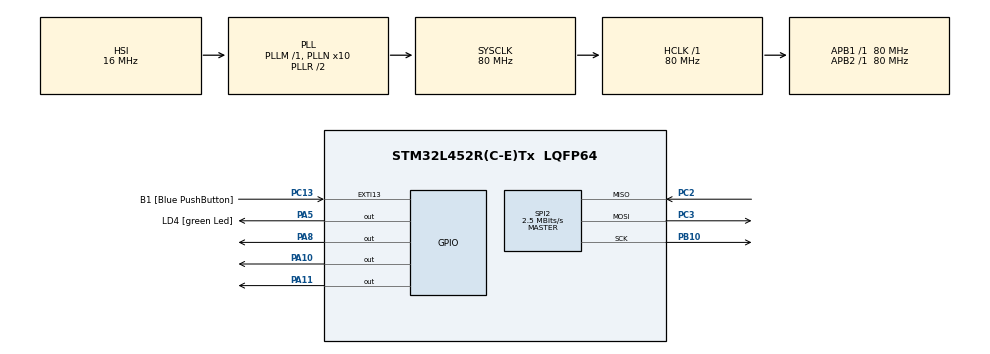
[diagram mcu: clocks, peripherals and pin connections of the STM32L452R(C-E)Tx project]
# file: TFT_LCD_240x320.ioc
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Mcu.Family=STM32L4
Mcu.Name=STM32L452R(C-E)Tx
Mcu.Package=LQFP64
NVIC.PriorityGroup=NVIC_PRIORITYGROUP_4
PA10.GPIO_Speed=GPIO_SPEED_FREQ_VERY_HIGH
PA10.Signal=GPIO_Output
PA11.GPIO_Speed=GPIO_SPEED_FREQ_VERY_HIGH
PA11.Signal=GPIO_Output
PA13\ (JTMS/SWDIO).GPIO_Label=TMS
PA13\ (JTMS/SWDIO).Mode=Serial_Wire
PA13\ (JTMS/SWDIO).Signal=SYS_JTMS-SWDIO
PA14\ (JTCK/SWCLK).GPIO_Label=TCK
PA14\ (JTCK/SWCLK).Mode=Serial_Wire
PA14\ (JTCK/SWCLK).Signal=SYS_JTCK-SWCLK
PA2.GPIO_Label=USART_TX
PA2.GPIO_Mode=GPIO_MODE_AF_PP
PA2.GPIO_PuPd=GPIO_NOPULL
PA2.GPIO_Speed=GPIO_SPEED_FREQ_VERY_HIGH
PA2.Signal=USART2_TX
PA3.GPIO_Label=USART_RX
PA3.GPIO_Mode=GPIO_MODE_AF_PP
PA3.GPIO_PuPd=GPIO_NOPULL
PA3.GPIO_Speed=GPIO_SPEED_FREQ_VERY_HIGH
PA3.Signal=USART2_RX
PA5.GPIO_Label=LD4 [green Led]
PA5.GPIO_ModeDefaultOutputPP=GPIO_MODE_OUTPUT_PP
PA5.GPIO_PuPd=GPIO_NOPULL
PA5.GPIO_Speed=GPIO_SPEED_FREQ_LOW
PA5.PinState=GPIO_PIN_RESET
PA5.Signal=GPIO_Output
PA8.GPIO_Speed=GPIO_SPEED_FREQ_LOW
PA8.Signal=GPIO_Output
PB10.GPIO_Speed=GPIO_SPEED_FREQ_VERY_HIGH
PB10.Mode=Full_Duplex_Master
PB10.Signal=SPI2_SCK
PB3\ (JTDO/TRACESWO).GPIO_Label=SWO
PB3\ (JTDO/TRACESWO).Signal=SYS_JTDO-SWO
PC13.GPIO_Label=B1 [Blue PushButton]
PC13.GPIO_ModeDefaultEXTI=GPIO_MODE_IT_FALLING
PC13.GPIO_PuPd=GPIO_NOPULL
PC13.Signal=GPXTI13
PC14-OSC32_IN\ (PC14).Mode=LSE-External-Oscillator
PC14-OSC32_IN\ (PC14).Signal=RCC_OSC32_IN
PC15-OSC32_OUT\ (PC15).Mode=LSE-External-Oscillator
PC15-OSC32_OUT\ (PC15).Signal=RCC_OSC32_OUT
PC2.GPIO_Speed=GPIO_SPEED_FREQ_VERY_HIGH
PC2.Mode=Full_Duplex_Master
PC2.Signal=SPI2_MISO
PC3.GPIO_Speed=GPIO_SPEED_FREQ_VERY_HIGH
PC3.Mode=Full_Duplex_Master
PC3.Signal=SPI2_MOSI
PH0-OSC_IN\ (PH0).Signal=RCC_OSC_IN
PH1-OSC_OUT\ (PH1).Signal=RCC_OSC_OUT
ProjectManager.HeapSize=0x200
ProjectManager.StackSize=0x400
ProjectManager.TargetToolchain=STM32CubeIDE
RCC.ADCFreq_Value=64000000
RCC.AHBFreq_Value=80000000
RCC.APB1Freq_Value=80000000
RCC.APB1TimFreq_Value=80000000
RCC.APB2Freq_Value=80000000
RCC.APB2TimFreq_Value=80000000
RCC.CortexFreq_Value=80000000
RCC.HCLKFreq_Value=80000000
RCC.HSE_VALUE=8000000
RCC.HSI48_VALUE=48000000
RCC.HSI_VALUE=16000000
RCC.MSI_VALUE=4000000
RCC.PLLN=10
RCC.PLLSourceVirtual=RCC_PLLSOURCE_HSI
RCC.SYSCLKFreq_VALUE=80000000
RCC.SYSCLKSource=RCC_SYSCLKSOURCE_PLLCLK
RCC.USBFreq_Value=64000000
RCC.VCOOutputFreq_Value=160000000
SPI2.BaudRatePrescaler=SPI_BAUDRATEPRESCALER_32
SPI2.CLKPhase=SPI_PHASE_2EDGE
SPI2.CLKPolarity=SPI_POLARITY_HIGH
SPI2.CalculateBaudRate=2.5 MBits/s
SPI2.DataSize=SPI_DATASIZE_8BIT
SPI2.Direction=SPI_DIRECTION_2LINES
SPI2.Mode=SPI_MODE_MASTER
SPI2.VirtualType=VM_MASTER
STMicroelectronics.X-CUBE-TOUCHGFX.4.13.0.ApplicationCcGraphicsJjApplication=TouchGFXOoGenerator
STMicroelectronics.X-CUBE-TOUCHGFX.4.13.0.tgfx_custom_height=320
STMicroelectronics.X-CUBE-TOUCHGFX.4.13.0.tgfx_custom_width=240
VP_CRC_VS_CRC.Mode=CRC_Activate
board=NUCLEO-L452RE

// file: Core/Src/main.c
/* USER CODE BEGIN Header */
/**
  ******************************************************************************
  * @file           : main.c
  * @brief          : Main program body
  ******************************************************************************
  * @attention
  *
  * <h2><center>&copy; Copyright (c) 2020 STMicroelectronics.
  * All rights reserved.</center></h2>
  *
  * This software component is licensed by ST under BSD 3-Clause license,
  * the "License"; You may not use this file except in compliance with the
  * License. You may obtain a copy of the License at:
  *                        opensource.org/licenses/BSD-3-Clause
  *
  ******************************************************************************
  */
/* USER CODE END Header */

#include "main.h"
#include "../Graphics/lvgl/lvgl.h"
#include "../Graphics/lv_conf.h"
/* USER CODE BEGIN Includes */
#include "../Lcd/lcd.h"
/* USER CODE END Includes */

CRC_HandleTypeDef hcrc;

SPI_HandleTypeDef hspi2;

void SystemClock_Config(void);
static void MX_GPIO_Init(void);
static void MX_SPI2_Init(void);
static void MX_CRC_Init(void);

/* USER CODE BEGIN 0 */
static lv_disp_buf_t disp_buf;
static lv_color_t buf[LV_HOR_RES_MAX * 10];                     /*Declare a buffer for 10 lines*/
/* USER CODE END 0 */

int main(void)
{

  /* MCU Configuration--------------------------------------------------------*/

  /* Reset of all peripherals, Initializes the Flash interface and the Systick. */
  HAL_Init();

  /* Configure the system clock */
  SystemClock_Config();

  /* Initialize all configured peripherals */
  MX_GPIO_Init();
  MX_SPI2_Init();
  MX_CRC_Init();

  /* Infinite loop */
  /* USER CODE BEGIN WHILE */
  HAL_GPIO_WritePin(GPIOA, GPIO_PIN_10, GPIO_PIN_SET); // Chip Select

  // Init graphics
  lv_init();

  /*Initialize the display buffer*/
  lv_disp_buf_init(&disp_buf, buf, NULL, LV_HOR_RES_MAX * 10);

  // Initializing the display driver
  lv_disp_drv_t disp_drv;               /*Descriptor of a display driver*/
  lv_disp_drv_init(&disp_drv);          /*Basic initialization*/
  disp_drv.flush_cb = my_disp_flush;    /*Set your driver function*/
  disp_drv.buffer = &disp_buf;          /*Assign the buffer to the display*/
  lv_disp_drv_register(&disp_drv);      /*Finally register the driver*/

  // Init LCD
  LCD_Init();

  // Create button
  lv_obj_t * btn = lv_btn_create(lv_scr_act(), NULL);     /*Add a button the current screen*/
  lv_obj_set_pos(btn, 10, 10);                            /*Set its position*/
  lv_obj_set_size(btn, 100, 50);                          /*Set its size*/

  lv_obj_t * label = lv_label_create(btn, NULL);          /*Add a label to the button*/
  lv_label_set_text(label, "Button");                     /*Set the labels text*/

  // Initialize colors
  lv_color_t emerald = lv_color_make(2, 46, 3);
  lv_color_t gold = lv_color_make(26, 43, 4);
  lv_color_t white = lv_color_make(31, 63, 31);

  // Set button style
  static lv_style_t style_btn_rel;                        /*A variable to store the released style*/
  lv_style_copy(&style_btn_rel, &lv_style_plain);         /*Initialize from a built-in style*/
  style_btn_rel.body.border.color = gold;
  style_btn_rel.body.border.width = 1;
  style_btn_rel.body.main_color = white;
  style_btn_rel.body.grad_color = white;
  style_btn_rel.body.radius = LV_RADIUS_CIRCLE;
  style_btn_rel.text.color = gold;

  lv_btn_set_style(btn, LV_BTN_STYLE_REL, &style_btn_rel);    /*Set the button's released style*/

  while (1)
  {
    /* USER CODE END WHILE */

    /* USER CODE BEGIN 3 */
//	LCD_Clear(  0,0,80,320,LCD_COLOR_RED);
//	LCD_Clear( 80,0,80,320,LCD_COLOR_GREEN);
//	LCD_Clear(160,0,80,320,LCD_COLOR_BLUE);
//	HAL_Delay(30);
//
//	LCD_SetColors(LCD_COLOR_WHITE,LCD_COLOR_BLACK);
//	LCD_Clear(0,0,240,320,LCD_COLOR_BLACK);		//BLACK
//	HAL_Delay(30);
//
//	LCD_DispRec(0,0,240,320);
//	HAL_Delay(30);
//
//	LCD_Clear(0,0,240,320,LCD_COLOR_WHITE);		//WHITE
//	HAL_Delay(30);
//
//	LCD_Clear(0,0,240,320,LCD_COLOR_RED);			//RED
//	HAL_Delay(30);
//
//	LCD_Clear(0,0,240,320,LCD_COLOR_GREEN);		//GREEN
//	HAL_Delay(30);
//
//	LCD_Clear(0,0,240,320,LCD_COLOR_BLUE);		//BLUE
//	HAL_Delay(30);

	HAL_Delay(10);
	lv_tick_inc(10);
	lv_task_handler();
  }
  /* USER CODE END 3 */
}

void SystemClock_Config(void)
{
  RCC_OscInitTypeDef RCC_OscInitStruct = {0};
  RCC_ClkInitTypeDef RCC_ClkInitStruct = {0};

  /** Initializes the CPU, AHB and APB busses clocks
  */
  RCC_OscInitStruct.OscillatorType = RCC_OSCILLATORTYPE_HSI;
  RCC_OscInitStruct.HSIState = RCC_HSI_ON;
  RCC_OscInitStruct.HSICalibrationValue = RCC_HSICALIBRATION_DEFAULT;
  RCC_OscInitStruct.PLL.PLLState = RCC_PLL_ON;
  RCC_OscInitStruct.PLL.PLLSource = RCC_PLLSOURCE_HSI;
  RCC_OscInitStruct.PLL.PLLM = 1;
  RCC_OscInitStruct.PLL.PLLN = 10;
  RCC_OscInitStruct.PLL.PLLP = RCC_PLLP_DIV7;
  RCC_OscInitStruct.PLL.PLLQ = RCC_PLLQ_DIV2;
  RCC_OscInitStruct.PLL.PLLR = RCC_PLLR_DIV2;
  if (HAL_RCC_OscConfig(&RCC_OscInitStruct) != HAL_OK)
  {
    Error_Handler();
  }
  /** Initializes the CPU, AHB and APB busses clocks
  */
  RCC_ClkInitStruct.ClockType = RCC_CLOCKTYPE_HCLK|RCC_CLOCKTYPE_SYSCLK
                              |RCC_CLOCKTYPE_PCLK1|RCC_CLOCKTYPE_PCLK2;
  RCC_ClkInitStruct.SYSCLKSource = RCC_SYSCLKSOURCE_PLLCLK;
  RCC_ClkInitStruct.AHBCLKDivider = RCC_SYSCLK_DIV1;
  RCC_ClkInitStruct.APB1CLKDivider = RCC_HCLK_DIV1;
  RCC_ClkInitStruct.APB2CLKDivider = RCC_HCLK_DIV1;

  if (HAL_RCC_ClockConfig(&RCC_ClkInitStruct, FLASH_LATENCY_4) != HAL_OK)
  {
    Error_Handler();
  }
  /** Configure the main internal regulator output voltage
  */
  if (HAL_PWREx_ControlVoltageScaling(PWR_REGULATOR_VOLTAGE_SCALE1) != HAL_OK)
  {
    Error_Handler();
  }
}

static void MX_CRC_Init(void)
{

  hcrc.Instance = CRC;
  hcrc.Init.DefaultPolynomialUse = DEFAULT_POLYNOMIAL_ENABLE;
  hcrc.Init.DefaultInitValueUse = DEFAULT_INIT_VALUE_ENABLE;
  hcrc.Init.InputDataInversionMode = CRC_INPUTDATA_INVERSION_NONE;
  hcrc.Init.OutputDataInversionMode = CRC_OUTPUTDATA_INVERSION_DISABLE;
  hcrc.InputDataFormat = CRC_INPUTDATA_FORMAT_BYTES;
  if (HAL_CRC_Init(&hcrc) != HAL_OK)
  {
    Error_Handler();
  }

}

static void MX_SPI2_Init(void)
{

  /* SPI2 parameter configuration*/
  hspi2.Instance = SPI2;
  hspi2.Init.Mode = SPI_MODE_MASTER;
  hspi2.Init.Direction = SPI_DIRECTION_2LINES;
  hspi2.Init.DataSize = SPI_DATASIZE_8BIT;
  hspi2.Init.CLKPolarity = SPI_POLARITY_HIGH;
  hspi2.Init.CLKPhase = SPI_PHASE_2EDGE;
  hspi2.Init.NSS = SPI_NSS_SOFT;
  hspi2.Init.BaudRatePrescaler = SPI_BAUDRATEPRESCALER_2;
  hspi2.Init.FirstBit = SPI_FIRSTBIT_MSB;
  hspi2.Init.TIMode = SPI_TIMODE_DISABLE;
  hspi2.Init.CRCCalculation = SPI_CRCCALCULATION_DISABLE;
  hspi2.Init.CRCPolynomial = 7;
  hspi2.Init.CRCLength = SPI_CRC_LENGTH_DATASIZE;
  hspi2.Init.NSSPMode = SPI_NSS_PULSE_DISABLE;
  if (HAL_SPI_Init(&hspi2) != HAL_OK)
  {
    Error_Handler();
  }

}

static void MX_GPIO_Init(void)
{
  GPIO_InitTypeDef GPIO_InitStruct = {0};

  /* GPIO Ports Clock Enable */
  __HAL_RCC_GPIOC_CLK_ENABLE();
  __HAL_RCC_GPIOH_CLK_ENABLE();
  __HAL_RCC_GPIOA_CLK_ENABLE();
  __HAL_RCC_GPIOB_CLK_ENABLE();

  /*Configure GPIO pin Output Level */
  HAL_GPIO_WritePin(GPIOA, LD4_Pin|GPIO_PIN_8|GPIO_PIN_10|GPIO_PIN_11, GPIO_PIN_RESET);

  /*Configure GPIO pin : B1_Pin */
  GPIO_InitStruct.Pin = B1_Pin;
  GPIO_InitStruct.Mode = GPIO_MODE_IT_FALLING;
  GPIO_InitStruct.Pull = GPIO_NOPULL;
  HAL_GPIO_Init(B1_GPIO_Port, &GPIO_InitStruct);

  /*Configure GPIO pins : USART_TX_Pin USART_RX_Pin */
  GPIO_InitStruct.Pin = USART_TX_Pin|USART_RX_Pin;
  GPIO_InitStruct.Mode = GPIO_MODE_AF_PP;
  GPIO_InitStruct.Pull = GPIO_NOPULL;
  GPIO_InitStruct.Speed = GPIO_SPEED_FREQ_VERY_HIGH;
  GPIO_InitStruct.Alternate = GPIO_AF7_USART2;
  HAL_GPIO_Init(GPIOA, &GPIO_InitStruct);

  /*Configure GPIO pins : LD4_Pin PA8 */
  GPIO_InitStruct.Pin = LD4_Pin|GPIO_PIN_8;
  GPIO_InitStruct.Mode = GPIO_MODE_OUTPUT_PP;
  GPIO_InitStruct.Pull = GPIO_NOPULL;
  GPIO_InitStruct.Speed = GPIO_SPEED_FREQ_LOW;
  HAL_GPIO_Init(GPIOA, &GPIO_InitStruct);

  /*Configure GPIO pins : PA10 PA11 */
  GPIO_InitStruct.Pin = GPIO_PIN_10|GPIO_PIN_11;
  GPIO_InitStruct.Mode = GPIO_MODE_OUTPUT_PP;
  GPIO_InitStruct.Pull = GPIO_NOPULL;
  GPIO_InitStruct.Speed = GPIO_SPEED_FREQ_VERY_HIGH;
  HAL_GPIO_Init(GPIOA, &GPIO_InitStruct);

}

void Error_Handler(void)
{
}

/************************ (C) COPYRIGHT STMicroelectronics *****END OF FILE****/
